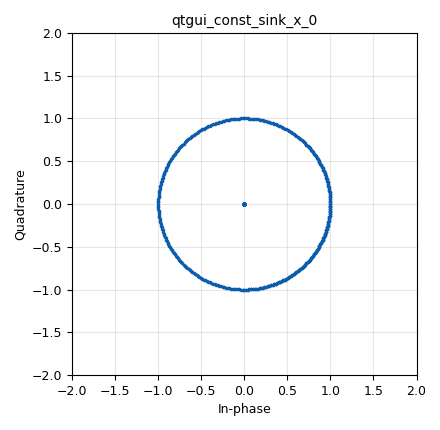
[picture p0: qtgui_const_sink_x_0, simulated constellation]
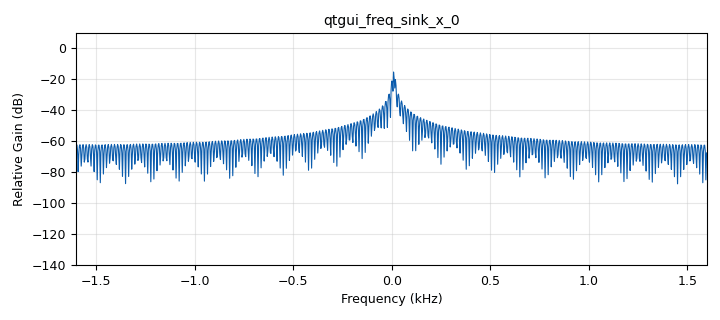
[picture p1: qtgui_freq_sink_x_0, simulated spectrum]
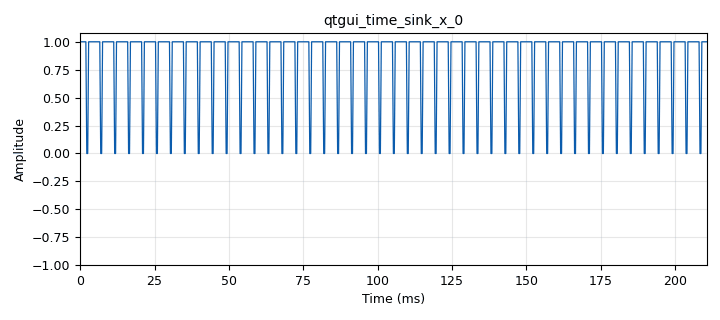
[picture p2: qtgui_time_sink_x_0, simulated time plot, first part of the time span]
options:
  parameters:
    generate_options: qt_gui
    id: OOK
    output_language: python
    title: Not titled yet
  states: {}

blocks:
- name: F_c
  id: variable_qtgui_range
  parameters:
    start: '10'
    step: '10'
    stop: '100'
    value: '10'
  states: {}
- name: T_ax
  id: variable_qtgui_range
  parameters:
    start: '1'
    step: '1'
    stop: '40'
    value: '40'
  states: {}
- name: samp_rate
  id: variable
  parameters:
    value: '3200'
  states: {}
- name: sps
  id: variable
  parameters:
    value: '100'
  states: {}
- name: analog_sig_source_x_0
  id: analog_sig_source_x
  parameters:
    amp: '1'
    freq: F_c
    offset: '0'
    phase: '0'
    samp_rate: samp_rate
    type: complex
    waveform: analog.GR_COS_WAVE
  states: {}
- name: blocks_complex_to_mag_0
  id: blocks_complex_to_mag
  parameters: {}
  states: {}
- name: blocks_keep_one_in_n_0
  id: blocks_keep_one_in_n
  parameters:
    n: sps
    type: float
  states: {}
- name: blocks_multiply_xx_0
  id: blocks_multiply_xx
  parameters:
    type: complex
  states: {}
- name: blocks_repeat_0
  id: blocks_repeat
  parameters:
    interp: sps
    type: complex
  states: {}
- name: blocks_threshold_ff_0
  id: blocks_threshold_ff
  parameters:
    high: '0.2'
    init: '0'
    low: '0.1'
  states: {}
- name: blocks_vector_source_x_0
  id: blocks_vector_source_x
  parameters:
    repeat: 'True'
    type: complex
    vector: (0, 1, 1,1,1,1,1,1,1,1,1,1,1,1, 0)
  states: {}
- name: qtgui_const_sink_x_0
  id: qtgui_const_sink_x
  parameters:
    size: '1024'
    type: complex
  states: {}
- name: qtgui_freq_sink_x_0
  id: qtgui_freq_sink_x
  parameters:
    bw: samp_rate
    fc: '0'
    fftsize: '1024'
    type: complex
  states: {}
- name: qtgui_time_sink_x_0
  id: qtgui_time_sink_x
  parameters:
    size: 1024*T_ax
    srate: samp_rate
    type: float
  states: {}

connections:
- [analog_sig_source_x_0, '0', blocks_multiply_xx_0, '1']
- [blocks_complex_to_mag_0, '0', blocks_threshold_ff_0, '0']
- [blocks_keep_one_in_n_0, '0', qtgui_time_sink_x_0, '0']
- [blocks_multiply_xx_0, '0', blocks_complex_to_mag_0, '0']
- [blocks_multiply_xx_0, '0', qtgui_const_sink_x_0, '0']
- [blocks_multiply_xx_0, '0', qtgui_freq_sink_x_0, '0']
- [blocks_repeat_0, '0', blocks_multiply_xx_0, '0']
- [blocks_threshold_ff_0, '0', blocks_keep_one_in_n_0, '0']
- [blocks_vector_source_x_0, '0', blocks_repeat_0, '0']

metadata:
  file_format: 1
  grc_version: 3.10.10.0
